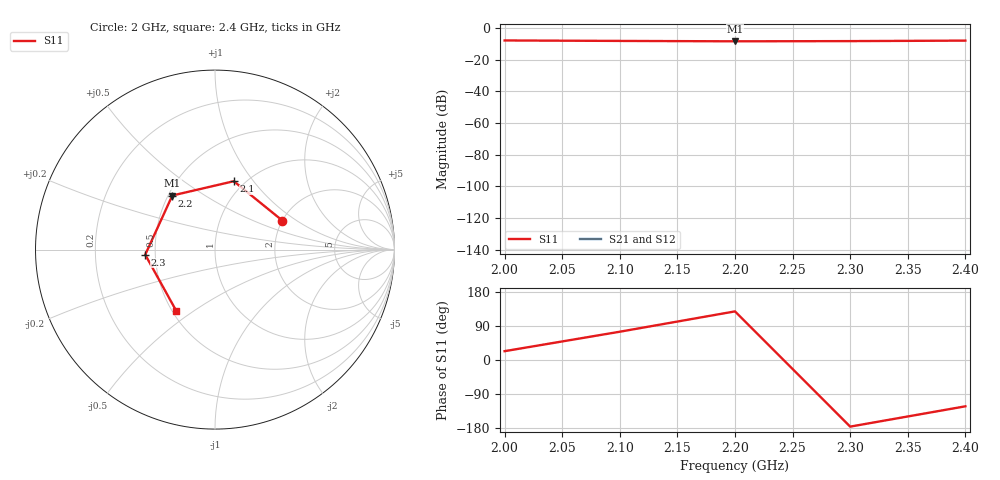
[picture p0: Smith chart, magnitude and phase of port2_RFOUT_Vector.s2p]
!National Instruments | Interval: 30 Days
!National Instruments | Date: 1:54:09.440 PM 11/5/2024
# GHZ S DB R 50
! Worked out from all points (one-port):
!   5 points, 2 GHz to 2.4 GHz, reference 50 ohm
!   lowest |S11| = -8.3 dB at 2.2 GHz (marker M1), VSWR 2.25, Z = 26.3 + j18.6 ohm
!   |S11| at or under -10 dB: nowhere
!   S11 on the Smith chart (normalised r, x): 2 GHz: 2.00, +0.78; 2.1 GHz: 0.89, +0.80; 2.2 GHz: 0.53, +0.37; 2.3 GHz: 0.44, -0.03; 2.4 GHz: 0.52, -0.43
2  -7.77 23.3  -157.88 28.8  -157.88 28.8  -319.93 40.8
2.1  -8.07 74.6  -157.65 77.0  -157.65 77.0  -336.18 63.4
2.2  -8.32 128.3  -161.96 124.2  -161.96 124.2  -323.30 120.5
2.3  -8.18 -175.8  -159.78 -146.5  -159.78 -146.5  -329.18 -123.3
2.4  -7.87 -122.2  -158.87 -132.2  -158.87 -132.2  -321.17 -173.2
